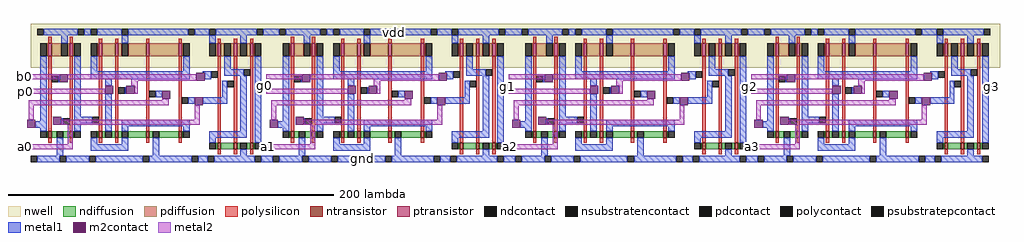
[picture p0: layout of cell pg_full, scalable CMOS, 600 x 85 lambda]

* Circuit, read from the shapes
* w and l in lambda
.subckt pg_full a0 a1 a2 a3 b0 b1 b2 b3 g0 g1 g2 g3 gnd p0 p1 p2 p3 vdd
M1 gnd b0 n1 gnd nfet w=4 l=2
M2 n2 a0 gnd gnd nfet w=4 l=2
M3 p0 n2 n3 gnd nfet w=4 l=2
M4 n3 b0 p0 gnd nfet w=4 l=2
M5 gnd n1 n3 gnd nfet w=4 l=2
M6 n3 a0 gnd gnd nfet w=4 l=2
M7 n4 b0 n5 gnd nfet w=4 l=2
M8 gnd a0 n4 gnd nfet w=4 l=2
M9 g0 n5 gnd gnd nfet w=4 l=2
M10 gnd b1 n6 gnd nfet w=4 l=2
M11 n7 a1 gnd gnd nfet w=4 l=2
M12 p1 n7 n8 gnd nfet w=4 l=2
M13 n8 b1 p1 gnd nfet w=4 l=2
M14 gnd n6 n8 gnd nfet w=4 l=2
M15 n8 a1 gnd gnd nfet w=4 l=2
M16 n9 b1 n10 gnd nfet w=4 l=2
M17 gnd a1 n9 gnd nfet w=4 l=2
M18 g1 n10 gnd gnd nfet w=4 l=2
M19 gnd b2 n11 gnd nfet w=4 l=2
M20 n12 a2 gnd gnd nfet w=4 l=2
M21 p2 n12 n13 gnd nfet w=4 l=2
M22 n13 b2 p2 gnd nfet w=4 l=2
M23 gnd n11 n13 gnd nfet w=4 l=2
M24 n13 a2 gnd gnd nfet w=4 l=2
M25 n14 b2 n15 gnd nfet w=4 l=2
M26 gnd a2 n14 gnd nfet w=4 l=2
M27 g2 n15 gnd gnd nfet w=4 l=2
M28 gnd b3 n16 gnd nfet w=4 l=2
M29 n17 a3 gnd gnd nfet w=4 l=2
M30 p3 n17 n18 gnd nfet w=4 l=2
M31 n18 b3 p3 gnd nfet w=4 l=2
M32 gnd n16 n18 gnd nfet w=4 l=2
M33 n18 a3 gnd gnd nfet w=4 l=2
M34 n19 b3 n20 gnd nfet w=4 l=2
M35 gnd a3 n19 gnd nfet w=4 l=2
M36 g3 n20 gnd gnd nfet w=4 l=2
M37 vdd b0 n1 vdd pfet w=8 l=2
M38 n2 a0 vdd vdd pfet w=8 l=2
M39 n21 n2 p0 vdd pfet w=8 l=2
M40 vdd b0 n21 vdd pfet w=8 l=2
M41 n22 n1 vdd vdd pfet w=8 l=2
M42 p0 a0 n22 vdd pfet w=8 l=2
M43 n5 b0 vdd vdd pfet w=8 l=2
M44 vdd a0 n5 vdd pfet w=8 l=2
M45 g0 n5 vdd vdd pfet w=8 l=2
M46 vdd b1 n6 vdd pfet w=8 l=2
M47 n7 a1 vdd vdd pfet w=8 l=2
M48 n23 n7 p1 vdd pfet w=8 l=2
M49 vdd b1 n23 vdd pfet w=8 l=2
M50 n24 n6 vdd vdd pfet w=8 l=2
M51 p1 a1 n24 vdd pfet w=8 l=2
M52 n10 b1 vdd vdd pfet w=8 l=2
M53 vdd a1 n10 vdd pfet w=8 l=2
M54 g1 n10 vdd vdd pfet w=8 l=2
M55 vdd b2 n11 vdd pfet w=8 l=2
M56 n12 a2 vdd vdd pfet w=8 l=2
M57 n25 n12 p2 vdd pfet w=8 l=2
M58 vdd b2 n25 vdd pfet w=8 l=2
M59 n26 n11 vdd vdd pfet w=8 l=2
M60 p2 a2 n26 vdd pfet w=8 l=2
M61 n15 b2 vdd vdd pfet w=8 l=2
M62 vdd a2 n15 vdd pfet w=8 l=2
M63 g2 n15 vdd vdd pfet w=8 l=2
M64 vdd b3 n16 vdd pfet w=8 l=2
M65 n17 a3 vdd vdd pfet w=8 l=2
M66 n27 n17 p3 vdd pfet w=8 l=2
M67 vdd b3 n27 vdd pfet w=8 l=2
M68 n28 n16 vdd vdd pfet w=8 l=2
M69 p3 a3 n28 vdd pfet w=8 l=2
M70 n20 b3 vdd vdd pfet w=8 l=2
M71 vdd a3 n20 vdd pfet w=8 l=2
M72 g3 n20 vdd vdd pfet w=8 l=2
.ends

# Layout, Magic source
magic
tech scmos
<< nwell >>
rect -58 0 538 27
<< ntransistor >>
rect -47 -43 -45 -39
rect -34 -43 -32 -39
rect -16 -43 -14 -39
rect -6 -43 -4 -39
rect 13 -43 15 -39
rect 33 -43 35 -39
rect 102 -43 104 -39
rect 115 -43 117 -39
rect 133 -43 135 -39
rect 143 -43 145 -39
rect 162 -43 164 -39
rect 182 -43 184 -39
rect 251 -43 253 -39
rect 264 -43 266 -39
rect 282 -43 284 -39
rect 292 -43 294 -39
rect 311 -43 313 -39
rect 331 -43 333 -39
rect 400 -43 402 -39
rect 413 -43 415 -39
rect 431 -43 433 -39
rect 441 -43 443 -39
rect 460 -43 462 -39
rect 480 -43 482 -39
rect 57 -50 59 -46
rect 67 -50 69 -46
rect 77 -50 79 -46
rect 206 -50 208 -46
rect 216 -50 218 -46
rect 226 -50 228 -46
rect 355 -50 357 -46
rect 365 -50 367 -46
rect 375 -50 377 -46
rect 504 -50 506 -46
rect 514 -50 516 -46
rect 524 -50 526 -46
<< ptransistor >>
rect -47 7 -45 15
rect -34 7 -32 15
rect -16 7 -14 15
rect -6 7 -4 15
rect 13 7 15 15
rect 33 7 35 15
rect 57 7 59 15
rect 67 7 69 15
rect 77 7 79 15
rect 102 7 104 15
rect 115 7 117 15
rect 133 7 135 15
rect 143 7 145 15
rect 162 7 164 15
rect 182 7 184 15
rect 206 7 208 15
rect 216 7 218 15
rect 226 7 228 15
rect 251 7 253 15
rect 264 7 266 15
rect 282 7 284 15
rect 292 7 294 15
rect 311 7 313 15
rect 331 7 333 15
rect 355 7 357 15
rect 365 7 367 15
rect 375 7 377 15
rect 400 7 402 15
rect 413 7 415 15
rect 431 7 433 15
rect 441 7 443 15
rect 460 7 462 15
rect 480 7 482 15
rect 504 7 506 15
rect 514 7 516 15
rect 524 7 526 15
<< ndiffusion >>
rect -48 -43 -47 -39
rect -45 -43 -42 -39
rect -38 -43 -34 -39
rect -32 -43 -31 -39
rect -17 -43 -16 -39
rect -14 -43 -12 -39
rect -8 -43 -6 -39
rect -4 -43 -2 -39
rect 2 -43 13 -39
rect 15 -43 17 -39
rect 21 -43 33 -39
rect 35 -43 36 -39
rect 101 -43 102 -39
rect 104 -43 107 -39
rect 111 -43 115 -39
rect 117 -43 118 -39
rect 132 -43 133 -39
rect 135 -43 137 -39
rect 141 -43 143 -39
rect 145 -43 147 -39
rect 151 -43 162 -39
rect 164 -43 166 -39
rect 170 -43 182 -39
rect 184 -43 185 -39
rect 250 -43 251 -39
rect 253 -43 256 -39
rect 260 -43 264 -39
rect 266 -43 267 -39
rect 281 -43 282 -39
rect 284 -43 286 -39
rect 290 -43 292 -39
rect 294 -43 296 -39
rect 300 -43 311 -39
rect 313 -43 315 -39
rect 319 -43 331 -39
rect 333 -43 334 -39
rect 399 -43 400 -39
rect 402 -43 405 -39
rect 409 -43 413 -39
rect 415 -43 416 -39
rect 430 -43 431 -39
rect 433 -43 435 -39
rect 439 -43 441 -39
rect 443 -43 445 -39
rect 449 -43 460 -39
rect 462 -43 464 -39
rect 468 -43 480 -39
rect 482 -43 483 -39
rect 56 -50 57 -46
rect 59 -50 67 -46
rect 69 -50 71 -46
rect 75 -50 77 -46
rect 79 -50 80 -46
rect 205 -50 206 -46
rect 208 -50 216 -46
rect 218 -50 220 -46
rect 224 -50 226 -46
rect 228 -50 229 -46
rect 354 -50 355 -46
rect 357 -50 365 -46
rect 367 -50 369 -46
rect 373 -50 375 -46
rect 377 -50 378 -46
rect 503 -50 504 -46
rect 506 -50 514 -46
rect 516 -50 518 -46
rect 522 -50 524 -46
rect 526 -50 527 -46
<< pdiffusion >>
rect -48 7 -47 15
rect -45 7 -39 15
rect -35 7 -34 15
rect -32 7 -31 15
rect -17 7 -16 15
rect -14 7 -6 15
rect -4 7 -2 15
rect 2 7 13 15
rect 15 7 33 15
rect 35 7 36 15
rect 56 7 57 15
rect 59 7 61 15
rect 65 7 67 15
rect 69 7 71 15
rect 75 7 77 15
rect 79 7 80 15
rect 101 7 102 15
rect 104 7 110 15
rect 114 7 115 15
rect 117 7 118 15
rect 132 7 133 15
rect 135 7 143 15
rect 145 7 147 15
rect 151 7 162 15
rect 164 7 182 15
rect 184 7 185 15
rect 205 7 206 15
rect 208 7 210 15
rect 214 7 216 15
rect 218 7 220 15
rect 224 7 226 15
rect 228 7 229 15
rect 250 7 251 15
rect 253 7 259 15
rect 263 7 264 15
rect 266 7 267 15
rect 281 7 282 15
rect 284 7 292 15
rect 294 7 296 15
rect 300 7 311 15
rect 313 7 331 15
rect 333 7 334 15
rect 354 7 355 15
rect 357 7 359 15
rect 363 7 365 15
rect 367 7 369 15
rect 373 7 375 15
rect 377 7 378 15
rect 399 7 400 15
rect 402 7 408 15
rect 412 7 413 15
rect 415 7 416 15
rect 430 7 431 15
rect 433 7 441 15
rect 443 7 445 15
rect 449 7 460 15
rect 462 7 480 15
rect 482 7 483 15
rect 503 7 504 15
rect 506 7 508 15
rect 512 7 514 15
rect 516 7 518 15
rect 522 7 524 15
rect 526 7 527 15
<< ndcontact >>
rect -52 -43 -48 -39
rect -42 -43 -38 -39
rect -31 -43 -27 -39
rect -21 -43 -17 -39
rect -12 -43 -8 -39
rect -2 -43 2 -39
rect 17 -43 21 -39
rect 36 -43 40 -39
rect 97 -43 101 -39
rect 107 -43 111 -39
rect 118 -43 122 -39
rect 128 -43 132 -39
rect 137 -43 141 -39
rect 147 -43 151 -39
rect 166 -43 170 -39
rect 185 -43 189 -39
rect 246 -43 250 -39
rect 256 -43 260 -39
rect 267 -43 271 -39
rect 277 -43 281 -39
rect 286 -43 290 -39
rect 296 -43 300 -39
rect 315 -43 319 -39
rect 334 -43 338 -39
rect 395 -43 399 -39
rect 405 -43 409 -39
rect 416 -43 420 -39
rect 426 -43 430 -39
rect 435 -43 439 -39
rect 445 -43 449 -39
rect 464 -43 468 -39
rect 483 -43 487 -39
rect 52 -50 56 -46
rect 71 -50 75 -46
rect 80 -50 84 -46
rect 201 -50 205 -46
rect 220 -50 224 -46
rect 229 -50 233 -46
rect 350 -50 354 -46
rect 369 -50 373 -46
rect 378 -50 382 -46
rect 499 -50 503 -46
rect 518 -50 522 -46
rect 527 -50 531 -46
<< pdcontact >>
rect -52 7 -48 15
rect -39 7 -35 15
rect -31 7 -27 15
rect -21 7 -17 15
rect -2 7 2 15
rect 36 7 40 15
rect 52 7 56 15
rect 61 7 65 15
rect 71 7 75 15
rect 80 7 84 15
rect 97 7 101 15
rect 110 7 114 15
rect 118 7 122 15
rect 128 7 132 15
rect 147 7 151 15
rect 185 7 189 15
rect 201 7 205 15
rect 210 7 214 15
rect 220 7 224 15
rect 229 7 233 15
rect 246 7 250 15
rect 259 7 263 15
rect 267 7 271 15
rect 277 7 281 15
rect 296 7 300 15
rect 334 7 338 15
rect 350 7 354 15
rect 359 7 363 15
rect 369 7 373 15
rect 378 7 382 15
rect 395 7 399 15
rect 408 7 412 15
rect 416 7 420 15
rect 426 7 430 15
rect 445 7 449 15
rect 483 7 487 15
rect 499 7 503 15
rect 508 7 512 15
rect 518 7 522 15
rect 527 7 531 15
<< psubstratepcontact >>
rect -58 -58 -54 -54
rect -40 -58 -36 -54
rect -22 -58 -18 -54
rect 11 -58 15 -54
rect 41 -58 45 -54
rect 51 -58 55 -54
rect 80 -58 84 -54
rect 91 -58 95 -54
rect 109 -58 113 -54
rect 127 -58 131 -54
rect 160 -58 164 -54
rect 190 -58 194 -54
rect 200 -58 204 -54
rect 229 -58 233 -54
rect 240 -58 244 -54
rect 258 -58 262 -54
rect 276 -58 280 -54
rect 309 -58 313 -54
rect 339 -58 343 -54
rect 349 -58 353 -54
rect 378 -58 382 -54
rect 389 -58 393 -54
rect 407 -58 411 -54
rect 425 -58 429 -54
rect 458 -58 462 -54
rect 488 -58 492 -54
rect 498 -58 502 -54
rect 527 -58 531 -54
<< nsubstratencontact >>
rect -54 20 -50 24
rect -29 20 -25 24
rect -21 20 -17 24
rect -2 20 2 24
rect 39 20 43 24
rect 52 20 56 24
rect 81 20 85 24
rect 95 20 99 24
rect 120 20 124 24
rect 128 20 132 24
rect 147 20 151 24
rect 188 20 192 24
rect 201 20 205 24
rect 230 20 234 24
rect 244 20 248 24
rect 269 20 273 24
rect 277 20 281 24
rect 296 20 300 24
rect 337 20 341 24
rect 350 20 354 24
rect 379 20 383 24
rect 393 20 397 24
rect 418 20 422 24
rect 426 20 430 24
rect 445 20 449 24
rect 486 20 490 24
rect 499 20 503 24
rect 528 20 532 24
<< polysilicon >>
rect -47 15 -45 19
rect -34 15 -32 19
rect -16 15 -14 18
rect -6 15 -4 18
rect 13 15 15 18
rect 33 15 35 18
rect 57 15 59 18
rect 67 15 69 18
rect 77 15 79 18
rect 102 15 104 19
rect 115 15 117 19
rect 133 15 135 18
rect 143 15 145 18
rect 162 15 164 18
rect 182 15 184 18
rect 206 15 208 18
rect 216 15 218 18
rect 226 15 228 18
rect 251 15 253 19
rect 264 15 266 19
rect 282 15 284 18
rect 292 15 294 18
rect 311 15 313 18
rect 331 15 333 18
rect 355 15 357 18
rect 365 15 367 18
rect 375 15 377 18
rect 400 15 402 19
rect 413 15 415 19
rect 431 15 433 18
rect 441 15 443 18
rect 460 15 462 18
rect 480 15 482 18
rect 504 15 506 18
rect 514 15 516 18
rect 524 15 526 18
rect -47 -39 -45 7
rect -34 -39 -32 7
rect -16 -39 -14 7
rect -6 -39 -4 7
rect 13 -39 15 7
rect 33 -39 35 7
rect -47 -46 -45 -43
rect -34 -46 -32 -43
rect -16 -46 -14 -43
rect -6 -46 -4 -43
rect 13 -46 15 -43
rect 33 -46 35 -43
rect 57 -46 59 7
rect 67 -46 69 7
rect 77 -46 79 7
rect 102 -39 104 7
rect 115 -39 117 7
rect 133 -39 135 7
rect 143 -39 145 7
rect 162 -39 164 7
rect 182 -39 184 7
rect 102 -46 104 -43
rect 115 -46 117 -43
rect 133 -46 135 -43
rect 143 -46 145 -43
rect 162 -46 164 -43
rect 182 -46 184 -43
rect 206 -46 208 7
rect 216 -46 218 7
rect 226 -46 228 7
rect 251 -39 253 7
rect 264 -39 266 7
rect 282 -39 284 7
rect 292 -39 294 7
rect 311 -39 313 7
rect 331 -39 333 7
rect 251 -46 253 -43
rect 264 -46 266 -43
rect 282 -46 284 -43
rect 292 -46 294 -43
rect 311 -46 313 -43
rect 331 -46 333 -43
rect 355 -46 357 7
rect 365 -46 367 7
rect 375 -46 377 7
rect 400 -39 402 7
rect 413 -39 415 7
rect 431 -39 433 7
rect 441 -39 443 7
rect 460 -39 462 7
rect 480 -39 482 7
rect 400 -46 402 -43
rect 413 -46 415 -43
rect 431 -46 433 -43
rect 441 -46 443 -43
rect 460 -46 462 -43
rect 480 -46 482 -43
rect 504 -46 506 7
rect 514 -46 516 7
rect 524 -46 526 7
rect 57 -53 59 -50
rect 67 -53 69 -50
rect 77 -53 79 -50
rect 206 -53 208 -50
rect 216 -53 218 -50
rect 226 -53 228 -50
rect 355 -53 357 -50
rect 365 -53 367 -50
rect 375 -53 377 -50
rect 504 -53 506 -50
rect 514 -53 516 -50
rect 524 -53 526 -50
<< polycontact >>
rect -45 -9 -41 -5
rect -38 -35 -34 -31
rect -20 -34 -16 -30
rect -4 -16 0 -12
rect 15 -18 19 -14
rect 53 -6 57 -2
rect 35 -22 39 -18
rect 63 -12 67 -8
rect 73 -5 77 -1
rect 104 -9 108 -5
rect 111 -35 115 -31
rect 129 -34 133 -30
rect 145 -16 149 -12
rect 164 -18 168 -14
rect 202 -6 206 -2
rect 184 -22 188 -18
rect 212 -12 216 -8
rect 222 -5 226 -1
rect 253 -9 257 -5
rect 260 -35 264 -31
rect 278 -34 282 -30
rect 294 -16 298 -12
rect 313 -18 317 -14
rect 351 -6 355 -2
rect 333 -22 337 -18
rect 361 -12 365 -8
rect 371 -5 375 -1
rect 402 -9 406 -5
rect 409 -35 413 -31
rect 427 -34 431 -30
rect 443 -16 447 -12
rect 462 -18 466 -14
rect 500 -6 504 -2
rect 482 -22 486 -18
rect 510 -12 514 -8
rect 520 -5 524 -1
<< metal1 >>
rect -50 20 -29 24
rect -25 20 -21 24
rect -17 20 -2 24
rect 2 20 39 24
rect 43 20 52 24
rect 56 20 81 24
rect 85 20 95 24
rect 99 20 120 24
rect 124 20 128 24
rect 132 20 147 24
rect 151 20 188 24
rect 192 20 201 24
rect 205 20 230 24
rect 234 20 244 24
rect 248 20 269 24
rect 273 20 277 24
rect 281 20 296 24
rect 300 20 337 24
rect 341 20 350 24
rect 354 20 379 24
rect 383 20 393 24
rect 397 20 418 24
rect 422 20 426 24
rect 430 20 445 24
rect 449 20 486 24
rect 490 20 499 24
rect 503 20 528 24
rect -39 15 -35 20
rect -2 15 2 20
rect 52 15 56 20
rect 71 15 75 20
rect 110 15 114 20
rect 147 15 151 20
rect 201 15 205 20
rect 220 15 224 20
rect 259 15 263 20
rect 296 15 300 20
rect 350 15 354 20
rect 369 15 373 20
rect 408 15 412 20
rect 445 15 449 20
rect 499 15 503 20
rect 518 15 522 20
rect -52 -33 -48 7
rect -41 -9 -40 -5
rect -31 -30 -27 7
rect -21 -2 -17 7
rect 36 -2 40 7
rect 61 -1 65 7
rect -21 -7 40 -2
rect 48 -3 53 -2
rect -12 -11 -8 -7
rect 49 -7 53 -3
rect 61 -5 73 -1
rect 0 -16 1 -12
rect -55 -37 -48 -33
rect -39 -35 -38 -31
rect -31 -34 -20 -30
rect -52 -39 -48 -37
rect -31 -39 -27 -34
rect -12 -39 -8 -16
rect 19 -18 23 -14
rect 60 -18 63 -8
rect 39 -22 43 -18
rect 48 -22 63 -18
rect -2 -36 40 -32
rect -2 -39 2 -36
rect 36 -39 40 -36
rect 71 -39 75 -5
rect -42 -54 -38 -43
rect -21 -47 -17 -43
rect -2 -47 2 -43
rect -21 -51 2 -47
rect 52 -43 75 -39
rect 80 -9 84 7
rect 80 -13 86 -9
rect 17 -54 21 -43
rect 52 -46 56 -43
rect 80 -46 84 -13
rect 97 -33 101 7
rect 108 -9 109 -5
rect 118 -30 122 7
rect 128 -2 132 7
rect 185 -2 189 7
rect 210 -1 214 7
rect 128 -7 189 -2
rect 197 -3 202 -2
rect 137 -11 141 -7
rect 198 -7 202 -3
rect 210 -5 222 -1
rect 149 -16 150 -12
rect 94 -37 101 -33
rect 110 -35 111 -31
rect 118 -34 129 -30
rect 97 -39 101 -37
rect 118 -39 122 -34
rect 137 -39 141 -16
rect 168 -18 172 -14
rect 209 -18 212 -8
rect 188 -22 192 -18
rect 197 -22 212 -18
rect 147 -36 189 -32
rect 147 -39 151 -36
rect 185 -39 189 -36
rect 220 -39 224 -5
rect 71 -54 75 -50
rect 107 -54 111 -43
rect 128 -47 132 -43
rect 147 -47 151 -43
rect 128 -51 151 -47
rect 201 -43 224 -39
rect 229 -10 233 7
rect 229 -13 235 -10
rect 166 -54 170 -43
rect 201 -46 205 -43
rect 229 -46 233 -13
rect 246 -33 250 7
rect 257 -9 258 -5
rect 267 -30 271 7
rect 277 -2 281 7
rect 334 -2 338 7
rect 359 -1 363 7
rect 277 -7 338 -2
rect 346 -3 351 -2
rect 286 -11 290 -7
rect 347 -7 351 -3
rect 359 -5 371 -1
rect 298 -16 299 -12
rect 243 -37 250 -33
rect 259 -35 260 -31
rect 267 -34 278 -30
rect 246 -39 250 -37
rect 267 -39 271 -34
rect 286 -39 290 -16
rect 317 -18 321 -14
rect 358 -18 361 -8
rect 337 -22 341 -18
rect 346 -22 361 -18
rect 296 -36 338 -32
rect 296 -39 300 -36
rect 334 -39 338 -36
rect 369 -39 373 -5
rect 220 -54 224 -50
rect 256 -54 260 -43
rect 277 -47 281 -43
rect 296 -47 300 -43
rect 277 -51 300 -47
rect 350 -43 373 -39
rect 378 -10 382 7
rect 378 -13 384 -10
rect 315 -54 319 -43
rect 350 -46 354 -43
rect 378 -46 382 -13
rect 395 -33 399 7
rect 406 -9 407 -5
rect 416 -30 420 7
rect 426 -2 430 7
rect 483 -2 487 7
rect 508 -1 512 7
rect 426 -7 487 -2
rect 495 -3 500 -2
rect 435 -11 439 -7
rect 496 -7 500 -3
rect 508 -5 520 -1
rect 447 -16 448 -12
rect 392 -37 399 -33
rect 408 -35 409 -31
rect 416 -34 427 -30
rect 395 -39 399 -37
rect 416 -39 420 -34
rect 435 -39 439 -16
rect 466 -18 470 -14
rect 507 -18 510 -8
rect 486 -22 490 -18
rect 495 -22 510 -18
rect 445 -36 487 -32
rect 445 -39 449 -36
rect 483 -39 487 -36
rect 518 -39 522 -5
rect 369 -54 373 -50
rect 405 -54 409 -43
rect 426 -47 430 -43
rect 445 -47 449 -43
rect 426 -51 449 -47
rect 499 -43 522 -39
rect 527 -10 531 7
rect 527 -13 533 -10
rect 464 -54 468 -43
rect 499 -46 503 -43
rect 527 -46 531 -13
rect 518 -54 522 -50
rect -54 -58 -40 -54
rect -36 -58 -22 -54
rect -18 -58 11 -54
rect 15 -58 41 -54
rect 45 -58 51 -54
rect 55 -58 80 -54
rect 84 -58 91 -54
rect 95 -58 109 -54
rect 113 -58 127 -54
rect 131 -58 160 -54
rect 164 -58 190 -54
rect 194 -58 200 -54
rect 204 -58 229 -54
rect 233 -58 240 -54
rect 244 -58 258 -54
rect 262 -58 276 -54
rect 280 -58 309 -54
rect 313 -58 339 -54
rect 343 -58 349 -54
rect 353 -58 378 -54
rect 382 -58 389 -54
rect 393 -58 407 -54
rect 411 -58 425 -54
rect 429 -58 458 -54
rect 462 -58 488 -54
rect 492 -58 498 -54
rect 502 -58 527 -54
<< m2contact >>
rect -60 -37 -55 -32
rect -40 -9 -35 -4
rect 44 -8 49 -3
rect -12 -16 -7 -11
rect 1 -16 6 -11
rect -44 -35 -39 -30
rect 23 -19 28 -14
rect 43 -23 48 -18
rect 89 -37 94 -32
rect 109 -9 114 -4
rect 193 -8 198 -3
rect 137 -16 142 -11
rect 150 -16 155 -11
rect 105 -35 110 -30
rect 172 -19 177 -14
rect 192 -23 197 -18
rect 238 -37 243 -32
rect 258 -9 263 -4
rect 342 -8 347 -3
rect 286 -16 291 -11
rect 299 -16 304 -11
rect 254 -35 259 -30
rect 321 -19 326 -14
rect 341 -23 346 -18
rect 387 -37 392 -32
rect 407 -9 412 -4
rect 491 -8 496 -3
rect 435 -16 440 -11
rect 448 -16 453 -11
rect 403 -35 408 -30
rect 470 -19 475 -14
rect 490 -23 495 -18
<< metal2 >>
rect -62 -7 -40 -4
rect -35 -7 44 -4
rect 4 -8 44 -7
rect 87 -7 109 -4
rect 4 -11 8 -8
rect 114 -7 193 -4
rect 153 -8 193 -7
rect 236 -7 258 -4
rect 153 -11 157 -8
rect 263 -7 342 -4
rect 302 -8 342 -7
rect 385 -7 407 -4
rect 302 -11 306 -8
rect 412 -7 491 -4
rect 451 -8 491 -7
rect 451 -11 455 -8
rect -62 -16 -12 -13
rect 6 -16 8 -11
rect 87 -16 137 -13
rect 155 -16 157 -11
rect 23 -20 27 -19
rect -59 -23 27 -20
rect 236 -16 286 -13
rect 304 -16 306 -11
rect 172 -20 176 -19
rect 90 -23 176 -20
rect 385 -16 435 -13
rect 453 -16 455 -11
rect 321 -20 325 -19
rect 239 -23 325 -20
rect 470 -20 474 -19
rect 388 -23 474 -20
rect -59 -32 -56 -23
rect 43 -32 46 -23
rect 90 -32 93 -23
rect -39 -35 46 -32
rect -35 -47 -32 -35
rect 192 -32 195 -23
rect 239 -32 242 -23
rect 110 -35 195 -32
rect 114 -47 117 -35
rect 341 -32 344 -23
rect 388 -32 391 -23
rect 259 -35 344 -32
rect 263 -47 266 -35
rect 490 -32 493 -23
rect 408 -35 493 -32
rect 412 -47 415 -35
rect -62 -50 -32 -47
rect 87 -50 117 -47
rect 236 -50 266 -47
rect 385 -50 415 -47
<< labels >>
rlabel metal2 -61 -50 -61 -47 3 a0
rlabel metal1 86 -13 86 -9 7 g0
rlabel metal2 -62 -7 -62 -4 3 b0
rlabel metal2 -61 -16 -61 -13 3 p0
rlabel metal1 166 22 166 22 5 vdd
rlabel metal1 146 -56 146 -56 1 gnd
rlabel metal2 87 -7 87 -4 1 b1
rlabel metal2 88 -50 88 -47 1 a1
rlabel metal2 88 -16 88 -13 1 p1
rlabel metal1 235 -13 235 -10 1 g1
rlabel metal2 236 -7 236 -4 1 b2
rlabel metal2 237 -16 237 -13 1 p2
rlabel metal2 237 -50 237 -47 1 a2
rlabel metal1 384 -13 384 -10 1 g2
rlabel metal2 385 -7 385 -4 1 b3
rlabel metal2 386 -16 386 -13 1 p3
rlabel metal2 386 -50 386 -47 1 a3
rlabel metal1 533 -13 533 -10 7 g3
<< end >>
